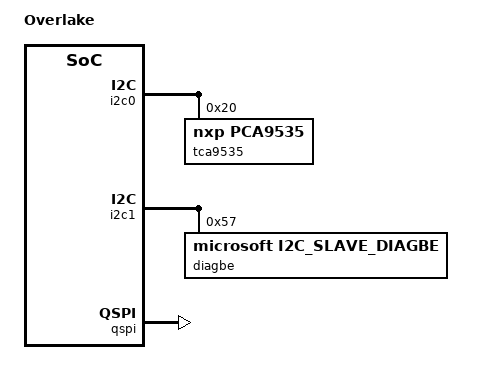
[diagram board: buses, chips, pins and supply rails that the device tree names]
// SPDX-License-Identifier: (GPL-2.0 or BSD-3-Clause)
/*
 *  Copyright(c) 2018 Broadcom
 */

/dts-v1/;


#define NUM_CRYPTO	0
#define NUM_RAID	0
#define NUM_SATA	0
#define ENABLE_NAND	0
#define ENABLE_SSP0	0
#define ENABLE_SSP1	0
#define ENABLE_SDCARD	0
#define ENABLE_PWM	0
#define ENABLE_ENET	0
#define ENABLE_MDIO	0
#define ENABLE_USB1	0
#define ENABLE_UART2	0
#define ENABLE_UART3	0

#define ENABLE_I2C0	1
#define ENABLE_I2C1	1
#define ENABLE_EMMC	1
#define ENABLE_OPTEE	1

#ifndef NUM_PAXB
#define NUM_PAXB	1
#define ENABLE_PCIE0	1
#endif

#ifndef ENABLE_PAXC
#define ENABLE_PAXC	1
#endif

#define ENABLE_PAXB_IOMMU	1
#define ENABLE_PAXC_IOMMU	1
#define ENABLE_FS4_IOMMU	0

#include "../../stingray-board-base.dtsi"
#include "../../stingray-dmc.dtsi"

/ {
	model = "Overlake";

	reserved-memory {
		/* GIC LPI tables */
		gic_lpi {
			reg = <0x0 0x8ad70000 0x0 0x90000>;
		};

		/* Nitro FW, nitro Crash, Bl31, Bl32 and elog */
		misc_reserve {
			reg = <0x0 0x8ae00000 0x0 0x4424000>;
			no-map;
		};

		crmu_pg_tbl {
			reg = <0x8 0x80000000 0x0 0x100000>;
			no-map;
		};

		tcg-log@C0000000 {
			reg = <0x00000000 0xC0000000 0x00000000 0x00010000>;
		};

		ramoops {
			compatible = "ramoops";
			reg = <0x00000009 0x7FC00000 0x00000000 0x00400000>;
			record-size = <0x80000>;
			max-reason = <5>;
		};
	};

	tpm@0 {
		compatible = "microsoft,ftpm";
		linux,sml-base = <0x00000000 0xC0000000>;
		linux,sml-size = <0x00010000>;
	};

	/* pmem0: 66M SOC-OS Logging */
	pmem@980000000 {
		compatible = "pmem-region";
		reg = <0x00000009 0x80000000 0x00000000 0x04200000>;
		volatile;
	};

	/* pmem1: 10M MOS Logging */
	pmem@984000000 {
		compatible = "pmem-region";
		reg = <0x00000009 0x84200000 0x00000000 0x00A00000>;
		volatile;
	};

	/* pmem2: 4M eMMC encryption key */
	pmem@984800000 {
		compatible = "pmem-region";
		reg = <0x00000009 0x84C00000 0x00000000 0x00400000>;
		volatile;
	};

	/* pmem3: 4M time deltas */
	pmem@984C00000 {
		compatible = "pmem-region";
		reg = <0x00000009 0x85000000 0x00000000 0x00400000>;
		volatile;
	};

	/*
	 * pmem4: 1964M for netdatapath. This gets hot-added during runtime, therefore
	 * must always be the last one
	 */
	pmem@985000000 {
		compatible = "pmem-region";
		reg = <0x00000009 0x85400000 0x00000000 0x7AC00000>;
		volatile;
		numa-node-id = <0>;
	};
};

&idm_elog {
		reg = <0x8f213000 0x10000>;
};

&memory {
	linux,usable-memory = <
		0x00000000 0x80000000 0x00000000 0x80000000
		0x00000008 0x80000000 0x00000001 0x00000000>;
};

&sdio0 {
	mmc-hs200-1_8v;
};

&i2c0 {
	tca9535@20 {
		compatible = "nxp,pca9535";
		reg = <0x20>;
		gpio-controller;
		#gpio-cells = <2>;
	};
};

&i2c1 {
	diagbe@57 {
		compatible = "microsoft,i2c_slave_diagbe";
		reg = <0x57>;
	};
};

&qspi {
	status = "okay";
};

&crypto_mbox {
	status = "disabled";
};

&raid_mbox {
	status = "disabled";
};
